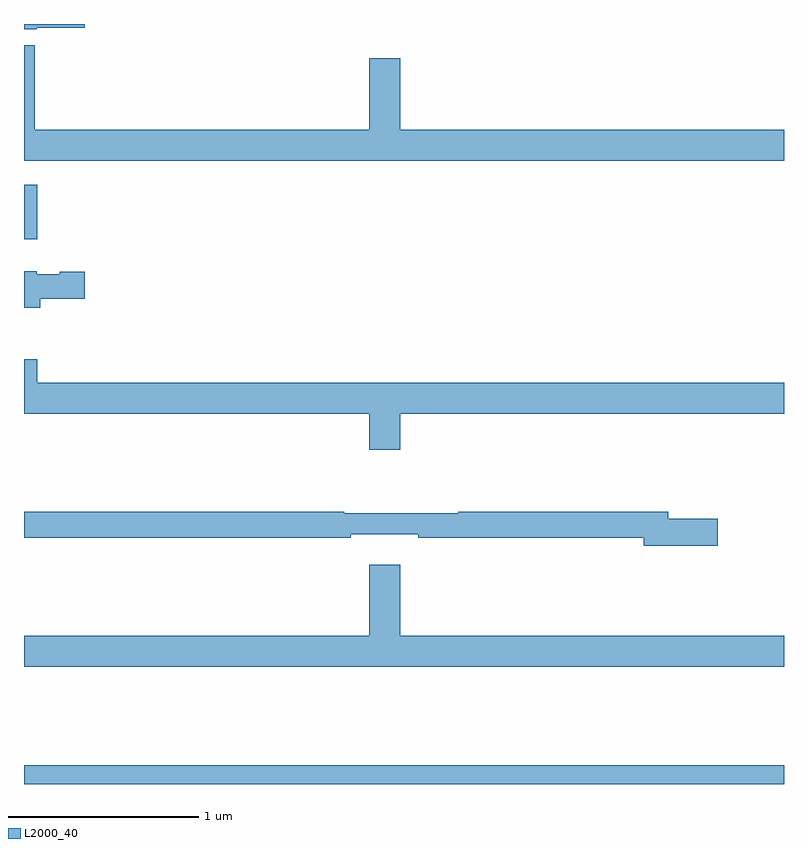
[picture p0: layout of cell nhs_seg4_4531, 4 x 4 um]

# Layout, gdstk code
import gdstk
lib = gdstk.Library(unit=1e-6, precision=1e-09)
def R(c, l, rs):  # rectangles x0, y0, x1, y1
    for r in rs: c.add(gdstk.rectangle(r[:2], r[2:], *l))
def P(c, l, *ps):  # polygons
    for p in ps: c.add(gdstk.Polygon(p, *l))
L2000_40 = (2000, 40)

nhs_seg4_4531 = lib.new_cell('nhs_seg4_4531')
R(nhs_seg4_4531, L2000_40, [(355,766.9,359,767), (355,769.766,355.07,770.053)])
P(nhs_seg4_4531, L2000_40, [(355.068,770.879),(355.321,770.879),(355.321,770.9),(355,770.9),(355,770.873),(355.068,770.873)],
  [(359,770.344),(356.98,770.344),(356.98,770.719),(356.816,770.719),(356.816,770.344),(355.057,770.344),(355.057,770.788),(355,770.788),(355,770.18),(359,770.18)],
  [(355.085,769.453),(355.321,769.453),(355.321,769.595),(355.188,769.595),(355.188,769.582),(355.068,769.582),(355.068,769.6),(355,769.6),(355,769.406),(355.085,769.406)],
  [(356.98,768.848),(359,768.848),(359,769.012),(355.07,769.012),(355.07,769.136),(355,769.136),(355,768.848),(356.816,768.848),(356.816,768.66),(356.98,768.66)],
  [(358.651,768.296),(358.39,768.296),(358.39,768.332),(357.286,768.332),(357.286,768.325),(356.686,768.325),(356.686,768.332),(355,768.332),(355,768.196),(356.72,768.196),(356.72,768.215),(357.076,768.215),(357.076,768.196),(358.262,768.196),(358.262,768.154),(358.651,768.154)],
  [(359,767.68),(356.98,767.68),(356.98,768.055),(356.816,768.055),(356.816,767.68),(355,767.68),(355,767.516),(359,767.516)])

lib.write_gds('nhs_seg4_4531.gds')
